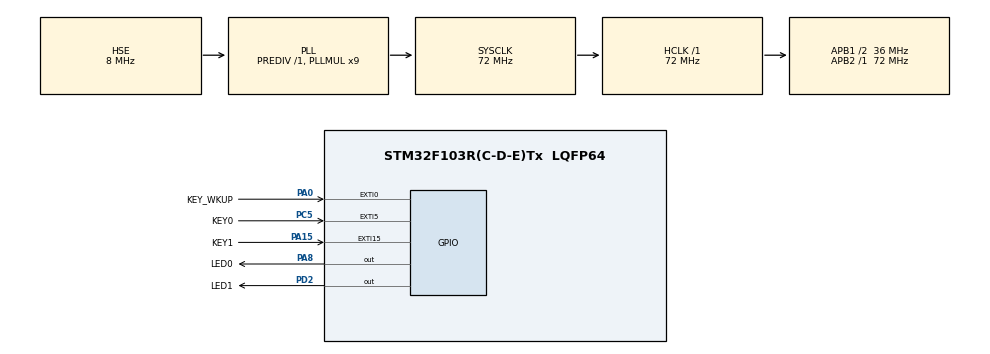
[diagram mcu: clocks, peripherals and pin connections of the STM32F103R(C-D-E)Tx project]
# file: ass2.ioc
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Mcu.Family=STM32F1
Mcu.Name=STM32F103R(C-D-E)Tx
Mcu.Package=LQFP64
NVIC.EXTI0_IRQn=true\:1\:0\:true\:false\:true\:true\:true\:true
NVIC.EXTI15_10_IRQn=true\:1\:2\:true\:false\:true\:true\:true\:true
NVIC.EXTI9_5_IRQn=true\:1\:1\:true\:false\:true\:true\:true\:true
NVIC.PriorityGroup=NVIC_PRIORITYGROUP_2
PA0-WKUP.GPIO_Label=KEY_WKUP
PA0-WKUP.GPIO_PuPd=GPIO_PULLDOWN
PA0-WKUP.Signal=GPXTI0
PA13.Mode=Serial_Wire
PA13.Signal=SYS_JTMS-SWDIO
PA14.Mode=Serial_Wire
PA14.Signal=SYS_JTCK-SWCLK
PA15.GPIO_Label=KEY1
PA15.GPIO_ModeDefaultEXTI=GPIO_MODE_IT_FALLING
PA15.GPIO_PuPd=GPIO_PULLUP
PA15.Signal=GPXTI15
PA8.GPIO_Label=LED0
PA8.Signal=GPIO_Output
PC5.GPIO_Label=KEY0
PC5.GPIO_ModeDefaultEXTI=GPIO_MODE_IT_FALLING
PC5.GPIO_PuPd=GPIO_PULLUP
PC5.Signal=GPXTI5
PD0-OSC_IN.Mode=HSE-External-Oscillator
PD0-OSC_IN.Signal=RCC_OSC_IN
PD1-OSC_OUT.Mode=HSE-External-Oscillator
PD1-OSC_OUT.Signal=RCC_OSC_OUT
PD2.GPIO_Label=LED1
PD2.Signal=GPIO_Output
ProjectManager.HeapSize=0x200
ProjectManager.StackSize=0x400
ProjectManager.TargetToolchain=STM32CubeIDE
RCC.AHBFreq_Value=72000000
RCC.APB1CLKDivider=RCC_HCLK_DIV2
RCC.APB1Freq_Value=36000000
RCC.APB1TimFreq_Value=72000000
RCC.APB2Freq_Value=72000000
RCC.APB2TimFreq_Value=72000000
RCC.HCLKFreq_Value=72000000
RCC.PLLMUL=RCC_PLL_MUL9
RCC.PLLSourceVirtual=RCC_PLLSOURCE_HSE
RCC.SYSCLKFreq_VALUE=72000000
RCC.SYSCLKSource=RCC_SYSCLKSOURCE_PLLCLK
RCC.USBFreq_Value=72000000
board=custom

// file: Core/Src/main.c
/* USER CODE BEGIN Header */
/**
  ******************************************************************************
  * @file           : main.c
  * @brief          : Main program body
  ******************************************************************************
  * @attention
  *
  * Copyright (c) 2024 STMicroelectronics.
  * All rights reserved.
  *
  * This software is licensed under terms that can be found in the LICENSE file
  * in the root directory of this software component.
  * If no LICENSE file comes with this software, it is provided AS-IS.
  *
  ******************************************************************************
  */
/* USER CODE END Header */
#include "main.h"
#include "gpio.h"

/* USER CODE BEGIN Includes */
#include <stdio.h>
#include <stdlib.h>
#include <string.h>
#include "lcd.h" // 240*320
#include "myimage.h"
/* USER CODE END Includes */

/* USER CODE BEGIN PD */

#define TITLE_REFRESH 1
#define INPUT_REFRESH 2
#define OUTPUT_REFRESH 4
#define ADDI_REFRESH 8
#define WARN_REFRESH 16
#define INFO_REFRESH 32
// above defs specify which area will be refreshed

/**
 * LCD layout:
 *   0-10  empty
 *  10-34    TITLEx24
 *  34-39  empty
 *  39-40  LINE
 *  40-45  empty
 *  45-57    INPUT_msgx12
 *  57-62  empty
 *  62-86    INPUT_datax24
 *  86-91  empty
 *  91-92  LINE
 *  92-97  empty
 * 97-109   OUTPUT_msgx12
 * 109-114 empty
 * 114-138   OUTOUT_datax24
 * 138-143 empty
 * 143-159   OUTPUT_msgx16
 * 159-164 empty
 * 164-165 LINE
 * 165-170 empty
 * 170-186   ADDI_msgx16
 * 186-191 empty
 * 191-215   ADDI_errx24
 * 215-220 empty
 * 220-244   ADDI_corx24
 * 244-249 empty
 * 249-250 LINE
 * 250-255 empty
 *
 * 255-264 reserved
 *
 * 264-276   INFO1x12
 * 276-281 empty
 * 281-293   INFO2x12
 * 293-298 empty
 * 298-310   WARNINGx12
 */

// y coords
#define TITLE_y 10
#define INPUT_msg_y 45
#define INPUT_data_y 62
#define OUTPUT_msg_y 97
#define OUTPUT_data_y 114
#define OUTPUT_msg2_y 143
#define ADDI_msg_y 170
#define ADDI_err_y 191
#define ADDI_cor_y 220
#define INFO1_y 264
#define INFO2_y 281
#define WARN_y 298

#define LINE1_y 39
#define LINE2_y 91
#define LINE3_y 164
#define LINE4_y 249

// char sizes
#define TITLE_s 24
#define INPUT_msg_s 12
#define INPUT_data_s 24
#define OUTPUT_msg_s 12
#define OUTPUT_data_s 24
#define OUTPUT_msg2_s 16
#define ADDI_msg_s 16
#define ADDI_err_s 24
#define ADDI_cor_s 24
#define INFO1_s 12
#define INFO2_s 12
#define WARN_s 12

/* USER CODE END PD */

/* USER CODE BEGIN PM */

#define get_databit(data, bit) ((((data)[(bit)>>5])>>((bit)&31)) & 1)
#define set_databit(data, bit, u) do{(data)[(bit)>>5] = (((data)[(bit)>>5] & (~(1<<((bit)&31)))) | (((u)&1)<<((bit)&31)));}while(0)
// bit operation in an uint32_t array

/* USER CODE END PM */

/* USER CODE BEGIN PV */
enum Prog_Mode mode;
enum Decode_Result dec_res;
size_t data_length = 4; // original data length
size_t true_length = 8; // encoded hamming length
uint32_t *data = NULL;  // user input
size_t data_ptr;        // user input array potision
char int2hex[20]="0123456789ABCDEF";
int T = 0; // led flash times
/* USER CODE END PV */

void SystemClock_Config(void);
/* USER CODE BEGIN PFP */
// find minimum bits need for encode `l` length data
size_t find_minimum_length(size_t l);
// get the number length in decimal
size_t num_len(size_t num);
// convert uint32_t *data to char* string with length `len`, need to be freed
char *my_data2string(uint32_t *data, size_t len);
// convert uint32_t to char* as binary string, need to be freed
char *my_2binary(size_t num);
// show data string at a specific position, if data is too long, divide into two lines.
// `s` must be 24;
void show_data_string(size_t y, size_t s, char *p);
// use hamming encode data, returns a pointer to hamming code, nned to be freed
uint32_t* encode_data(const uint32_t *src);
// decode data, returns the data(not corrected) without hamming parity length `resl`, put how many errors in `dr`, put error position in `pos`, need to be freed
uint32_t* decode_data(const uint32_t *src, enum Decode_Result *dr, size_t *pos, size_t *resl, size_t *Uu);
// show a warning message at a specific position
void show_warning_msg(char *s);

void flash_led(enum Prog_Mode m);
// init main UI for hamming code
void init_display();
// refresh and show message at given `refresh_area`
void do_display(uint8_t refresh_area);

void show_cover();
/* USER CODE END PFP */

int main(void)
{

  /* MCU Configuration--------------------------------------------------------*/

  /* Reset of all peripherals, Initializes the Flash interface and the Systick. */
  HAL_Init();

  /* Configure the system clock */
  SystemClock_Config();

  /* Initialize all configured peripherals */
  MX_GPIO_Init();
  /* USER CODE BEGIN 2 */
  LCD_Init();
  BACK_COLOR = WHITE;
  POINT_COLOR = BLACK;
  LCD_Clear(BACK_COLOR);
  show_cover();
  HAL_GPIO_WritePin(LED0_GPIO_Port, LED0_Pin, GPIO_PIN_SET);
  HAL_GPIO_WritePin(LED1_GPIO_Port, LED1_Pin, GPIO_PIN_SET);
  data = (uint32_t*)malloc(sizeof(uint32_t) * 1);
  data[0]=0;
  /* USER CODE END 2 */

  /* Infinite loop */
  while (1)
  {

    /* USER CODE BEGIN 3 */
    HAL_GPIO_WritePin(LED0_GPIO_Port, LED0_Pin, HAL_GPIO_ReadPin(KEY0_GPIO_Port, KEY0_Pin));
    HAL_GPIO_WritePin(LED1_GPIO_Port, LED1_Pin, HAL_GPIO_ReadPin(KEY1_GPIO_Port, KEY1_Pin));

    while(T > 0){
      HAL_GPIO_WritePin(LED0_GPIO_Port, LED0_Pin, GPIO_PIN_RESET);
      HAL_GPIO_WritePin(LED1_GPIO_Port, LED1_Pin, GPIO_PIN_RESET);
      HAL_Delay(100);
      HAL_GPIO_WritePin(LED0_GPIO_Port, LED0_Pin, GPIO_PIN_SET);
      HAL_GPIO_WritePin(LED1_GPIO_Port, LED1_Pin, GPIO_PIN_SET);
      if(--T) HAL_Delay(100);
    }
  }
  /* USER CODE END 3 */
}

void SystemClock_Config(void)
{
  RCC_OscInitTypeDef RCC_OscInitStruct = {0};
  RCC_ClkInitTypeDef RCC_ClkInitStruct = {0};

  /** Initializes the RCC Oscillators according to the specified parameters
  * in the RCC_OscInitTypeDef structure.
  */
  RCC_OscInitStruct.OscillatorType = RCC_OSCILLATORTYPE_HSE;
  RCC_OscInitStruct.HSEState = RCC_HSE_ON;
  RCC_OscInitStruct.HSEPredivValue = RCC_HSE_PREDIV_DIV1;
  RCC_OscInitStruct.HSIState = RCC_HSI_ON;
  RCC_OscInitStruct.PLL.PLLState = RCC_PLL_ON;
  RCC_OscInitStruct.PLL.PLLSource = RCC_PLLSOURCE_HSE;
  RCC_OscInitStruct.PLL.PLLMUL = RCC_PLL_MUL9;
  if (HAL_RCC_OscConfig(&RCC_OscInitStruct) != HAL_OK)
  {
    Error_Handler();
  }

  /** Initializes the CPU, AHB and APB buses clocks
  */
  RCC_ClkInitStruct.ClockType = RCC_CLOCKTYPE_HCLK|RCC_CLOCKTYPE_SYSCLK
                              |RCC_CLOCKTYPE_PCLK1|RCC_CLOCKTYPE_PCLK2;
  RCC_ClkInitStruct.SYSCLKSource = RCC_SYSCLKSOURCE_PLLCLK;
  RCC_ClkInitStruct.AHBCLKDivider = RCC_SYSCLK_DIV1;
  RCC_ClkInitStruct.APB1CLKDivider = RCC_HCLK_DIV2;
  RCC_ClkInitStruct.APB2CLKDivider = RCC_HCLK_DIV1;

  if (HAL_RCC_ClockConfig(&RCC_ClkInitStruct, FLASH_LATENCY_2) != HAL_OK)
  {
    Error_Handler();
  }
}

/* USER CODE BEGIN 4 */

void add_input(int num){ // callback for KEY_num
  if(mode == Cover_Mode){ // do nothing at Cover mode
    return;
  }
  do_display(WARN_REFRESH); // remove previous warnings

  if(mode == Set_Mode){ // set mode only changes length
    if(num == 0 && data_length == 1){
      show_warning_msg("WARNING: length should be positive.");
      return;
    }
    if(num == 1 && data_length >= 277){
      show_warning_msg("WARNING: length should be less than 277.");
      return;
    }
    data_length += (num<<1) - 1;
    true_length = data_length + 1 + find_minimum_length(data_length);
    do_display(INFO_REFRESH);
    return;
  }

  // check for conditions
  if(!data){
    show_warning_msg("WARNING: inner error, data=NULL");
    return;
  }
  if(mode == Encode_Mode && data_ptr >= data_length){
    show_warning_msg("WARNING: exceed length. Ignore input.");
    return;
  }
  if(mode == Decode_Mode && data_ptr >= true_length){
    show_warning_msg("WARNING: exceed length. Ignore input.");
    return;
  }
  if(num != 0 && num != 1){
    show_warning_msg("WARNING: inner error, input not 0 or 1.");
    return;
  }

  set_databit(data, data_ptr, num);
  ++data_ptr;
  do_display(INPUT_REFRESH);

  // length reaches maximum, show result
  if(mode == Decode_Mode && data_ptr == true_length){
    do_display(OUTPUT_REFRESH | ADDI_REFRESH);
    data_ptr = 0;
    size_t datal = (true_length>>5) + ((true_length&31) ? 1 : 0);
    memset(data, 0, sizeof(uint32_t) * datal);
  }
  if(mode == Encode_Mode && data_ptr == data_length){
    do_display(OUTPUT_REFRESH | ADDI_REFRESH);
    data_ptr = 0;
    size_t datal = (true_length>>5) + ((true_length&31) ? 1 : 0);
    memset(data, 0, sizeof(uint32_t) * datal);
  }
}

// skip all position like 2^k, reserve for hamming parity
size_t find_next_hamming_data_pos(size_t j){
  ++j;
  while((j & (j-1)) == 0) ++j;
  return j;
}

size_t find_minimum_length(size_t l){
  size_t i = 1;
  for(;(1ll<<i)-i < l+1; ++i); // minimum `i` for 2^i-i >= len+1
  return i;
}

size_t num_len(size_t num){
  size_t i=0;
  while(num){
    num /= 10;
    ++i;
  }
  return i;
}

char *my_data2string(uint32_t *data, size_t len){
  if(true_length <= 72){ // display as binary
    char *ss = (char*)malloc(sizeof(char)*(len+1));
    for(size_t i=0;i<len;++i){
      ss[i] = get_databit(data, i) + '0';
    }
    ss[len] = 0;
    return ss;
  } else { // display as hex
    char *ss = (char*)malloc(sizeof(char)*(((len+3)>>2)+1));
    size_t lss = 0;
    for(size_t i = 0; i < len; i += 4){
      ss[lss] = int2hex[(data[i>>5]>>(i&31)) & 15];
      ++lss;
    }
    ss[lss]=0;
    return ss;
  }
}

char *my_2binary(size_t num){
  size_t ll = num, l = 0;
  while(ll){
    ll>>=1;
    ++l;
  }
  char *s = (char*)malloc(sizeof(char)*(l+1));
  memset(s, 0, sizeof(char)*(l+1));
  l = 0;
  while(num){
    s[l] = '0' + (num & 1);
    num >>= 1;
    ++l;
  }
  for(size_t i = 0; i < (l>>1); ++i){
    char j = s[i];
    s[i] = s[l-i-1];
    s[l-i-1] = j;
  }
  s[l] = 0;
  return s;
}

uint32_t* encode_data(const uint32_t *src){
  __disable_irq();
  size_t arrl = (true_length>>5) + ((true_length & 31) ? 1 : 0);
  uint32_t *dst = (uint32_t*)malloc(sizeof(uint32_t)*arrl);
  memset(dst, 0, sizeof(uint32_t)*arrl);

  // P: hamming parity, U: a single bit parity for 2bit detect
  size_t P = 0, j = 2, tt, U = 0;
  for(size_t i = 0; i < data_length; ++i){
    j = find_next_hamming_data_pos(j);
    if(tt = get_databit(src, i)){
      P ^= j; // see README for reason.
    }
    U ^= tt;
    set_databit(dst, j, tt); // put original data into hamming code position
  }
  for(size_t i = 1; i < true_length; i<<=1){
    set_databit(dst, i, P&1); // put hamming parity into position
    U ^= P&1;
    P>>=1;
  }
  set_databit(dst, 0, U); // put the single bit parity
  __enable_irq();
  return dst;
}

uint32_t* decode_data(const uint32_t *src, enum Decode_Result *dr, size_t *pos, size_t *resl, size_t *Uu){
  __disable_irq();
  size_t arrl = (true_length>>5) + ((true_length & 31) ? 1 : 0);
  uint32_t *res = (uint32_t*)malloc(sizeof(uint32_t)*arrl);
  memset(res, 0, sizeof(uint32_t)*arrl);
  size_t res_ptr=0;

  size_t P = 0, U = 0, tt;
  for(size_t i = 0; i < true_length; ++i){
    if(tt = get_databit(src, i)){
      P ^= i; // see README for reason.
    }
    U ^= tt;
    if((i^(i-1))!=(i<<1)-1){ // not hamming parity, put into decoded data
      set_databit(res, res_ptr, tt);
      ++res_ptr;
    }
  }
  *pos = P;
  *Uu = U;
  if(P && U && P < true_length){ // C not 0, and checked for odd errors, 1bit
    *dr = OneBit;
  } else if(P || U || P >= true_length){ // else if not correct, 2bit
    *dr = TwoBit;
  } else {
    *dr = CORRECT;
  }
  __enable_irq();
  *resl = res_ptr;
  return res;
}

void flash_led(enum Prog_Mode m){
  switch (m)
  {
  case Encode_Mode:
    T = 1;
    break;
  case Decode_Mode:
    T = 2;
    break;
  case Set_Mode:
    T = 3;
    break;

  default:
    break;
  }
}

void switch_mode(){
  __disable_irq();
  size_t datal;
  switch (mode) // after switched, input data should be cleared
  {
  case Cover_Mode:
    mode = Encode_Mode;
    init_display();
    break;
  case Encode_Mode:
    mode = Decode_Mode;
    datal = (true_length>>5) + ((true_length&31) ? 1 : 0);
    memset(data, 0, sizeof(uint32_t) * datal);
    data_ptr = 0;
    break;
  case Decode_Mode:
    mode = Set_Mode;
    datal = (true_length>>5) + ((true_length&31) ? 1 : 0);
    memset(data, 0, sizeof(uint32_t) * datal);
    data_ptr = 0;
    break;
  case Set_Mode:
    mode = Encode_Mode;
    true_length = find_minimum_length(data_length) + data_length + 1;
    free(data);
    datal = (true_length>>5) + ((true_length&31) ? 1 : 0);
    data = (uint32_t*)malloc(sizeof(uint32_t) * datal); // length changed, realloc input data buffer
    memset(data, 0, sizeof(uint32_t) * datal);
    data_ptr = 0;
    break;

  default:
    break;
  }
  // refresh all display
  do_display(TITLE_REFRESH | INPUT_REFRESH | OUTPUT_REFRESH | ADDI_REFRESH | WARN_REFRESH | INFO_REFRESH);
  __enable_irq();
  flash_led(mode);
}

void show_warning_msg(char *s){
  LCD_Fill(0, WARN_y, 240, WARN_y+WARN_s, BACK_COLOR);
  LCD_ShowString_trans(10, WARN_y, 220, WARN_s, WARN_s, s);
}

void show_data_string(size_t y, size_t s, char *p){
  size_t l = strlen(p);
  if(l<=18){
    LCD_ShowString_trans(10, y, 220, s, s, p);
  } else if(l<=36){
    LCD_ShowString_trans(10, y, 220, s>>1, s>>1, p);
  } else {
    char pt = p[36];
    p[36] = 0;
    LCD_ShowString_trans(10, y-1, 220, s>>1, s>>1, p);
    p[36] = pt;
    LCD_ShowString_trans(10, y+(s>>1)+1, 220, s>>1, s>>1, p+36);
  }
}

void init_display(){
  LCD_Clear(BACK_COLOR);
  LCD_DrawLine(10, LINE1_y, 230, LINE1_y);
  LCD_DrawLine(10, LINE2_y, 230, LINE2_y);
  LCD_DrawLine(10, LINE3_y, 230, LINE3_y);
  LCD_DrawLine(10, LINE4_y, 230, LINE4_y);

  LCD_ShowString_trans(10, INPUT_msg_y, 220, INPUT_msg_y, INPUT_msg_s, "Original data:");
  LCD_ShowString_trans(10, OUTPUT_msg_y, 220, OUTPUT_msg_y, OUTPUT_msg_s, "Hamming code:");

  // above are the things that will not change during execution

  LCD_Fill(0, OUTPUT_msg2_y, 240, OUTPUT_msg2_y+OUTPUT_msg2_s, BACK_COLOR);
  size_t numl = num_len(true_length-data_length);
  LCD_ShowString_trans(10, OUTPUT_msg2_y+4, 220, 12, 12, "with ");
  LCD_ShowNum(10+ 5*6, OUTPUT_msg2_y, true_length-data_length, numl, OUTPUT_msg2_s);
  LCD_ShowString_trans(10 + 5*6 + numl*8, OUTPUT_msg2_y+4, 220, 12, 12, " parity bits.");

  do_display(TITLE_REFRESH);
  do_display(INFO_REFRESH);
}

void do_display(uint8_t refresh_area){
  if(mode == Cover_Mode) return;
  if(refresh_area & TITLE_REFRESH){ // repaint title
    refresh_area ^= TITLE_REFRESH;
    LCD_Fill(0, TITLE_y, 240, TITLE_y+TITLE_s, BACK_COLOR);
    switch (mode)
    {
    case Encode_Mode:
      LCD_ShowString_trans(10, TITLE_y, 220, TITLE_s, TITLE_s, "Encode Mode");
      break;
    case Decode_Mode:
      LCD_ShowString_trans(10, TITLE_y, 220, TITLE_s, TITLE_s, "Decode Mode");
      break;
    case Set_Mode:
      LCD_ShowString_trans(10, TITLE_y, 220, TITLE_s, TITLE_s, "Length Set Mode");
      break;

    default:
      break;
    }
  }

  if(refresh_area & INFO_REFRESH){ // repaint info (data len: xxx)
    refresh_area ^= INFO_REFRESH;
    LCD_Fill(0, INFO1_y, 240, INFO1_y+INFO1_s, BACK_COLOR);
    LCD_Fill(0, INFO2_y, 240, INFO2_y+INFO2_s, BACK_COLOR);
    /**
     * data len: xxx
     * hamm len: xxx
     */
    LCD_ShowString_trans(10, INFO1_y, 240, INFO1_s, INFO1_s, "data len: ");
    LCD_ShowNum(10+10*6, INFO1_y, data_length, num_len(data_length), INFO1_s);
    LCD_ShowString_trans(10, INFO2_y, 240, INFO2_s, INFO2_s, "Hamm len: ");
    LCD_ShowNum(10+10*6, INFO2_y, true_length, num_len(true_length), INFO2_s);
  }
  switch (mode)
  {
  case Encode_Mode:
    if(refresh_area & INPUT_REFRESH){ // repaint input area
      refresh_area ^= INPUT_REFRESH;
      LCD_Fill(0, INPUT_data_y, 240, INPUT_data_y+INPUT_data_s, BACK_COLOR);
      char *ss = my_data2string(data, data_ptr);
      show_data_string(INPUT_data_y, INPUT_data_s, ss);
      free(ss);
    }
    if(refresh_area & OUTPUT_REFRESH){
      refresh_area ^= OUTPUT_REFRESH;
      LCD_Fill(0, OUTPUT_data_y, 240, OUTPUT_data_y+OUTPUT_data_s, BACK_COLOR);
      if (data_ptr == data_length){ // show the encoded result
        uint32_t *enc = encode_data(data);
        char *ss = my_data2string(enc, true_length);
        show_data_string(OUTPUT_data_y, OUTPUT_data_s, ss);
        LCD_ShowString_trans(10, ADDI_msg_y, 220, ADDI_msg_s, ADDI_msg_s, "No error");
        free(ss);
        free(enc);
      }
    }
    if(refresh_area & ADDI_REFRESH){
      refresh_area ^= ADDI_REFRESH;
      LCD_Fill(0, ADDI_msg_y, 240, ADDI_msg_y+ADDI_msg_s, BACK_COLOR);
      LCD_Fill(0, ADDI_err_y-2, 240, ADDI_err_y+2+ADDI_err_s, BACK_COLOR);
      LCD_Fill(0, ADDI_cor_y-2, 240, ADDI_cor_y+2+ADDI_cor_s, BACK_COLOR);
      if (data_ptr == data_length){
        LCD_ShowString_trans(10, ADDI_msg_y, 220, ADDI_msg_s, ADDI_msg_s, "No error");
      }
    }
    break;
  case Decode_Mode:
    if(refresh_area & INPUT_REFRESH){
      refresh_area ^= INPUT_REFRESH;
      LCD_Fill(0, OUTPUT_data_y, 240, OUTPUT_data_y+OUTPUT_data_s, BACK_COLOR);

      char *ss = my_data2string(data, data_ptr);
      show_data_string(OUTPUT_data_y, OUTPUT_data_s, ss);
    }
    if(refresh_area & OUTPUT_REFRESH){
      refresh_area ^= OUTPUT_REFRESH;

      LCD_Fill(0, INPUT_data_y, 240, INPUT_data_y+INPUT_data_s, BACK_COLOR);
      LCD_Fill(0, ADDI_msg_y, 240, ADDI_msg_y+ADDI_msg_s, BACK_COLOR);
      LCD_Fill(0, ADDI_err_y-2, 240, ADDI_err_y+2+ADDI_err_s, BACK_COLOR);
      LCD_Fill(0, ADDI_cor_y-2, 240, ADDI_cor_y+2+ADDI_cor_s, BACK_COLOR);

      if (data_ptr == true_length){ // show the decoded result
        enum Decode_Result dr;
        size_t pos, decl, U;
        uint32_t *dec = decode_data(data, &dr, &pos, &decl, &U);
        char *ss = my_data2string(dec, decl);

        show_warning_msg(U ? "Intermediate: U=1" : "Intermediate: U=0"); // All intermediate variables not shown only remains U...
        LCD_ShowString_trans(10 + 9 * WARN_s, WARN_y, 220, WARN_s, WARN_s, "P=");
        char *sss = my_2binary(pos);
        LCD_ShowString_trans(10 + 10 * WARN_s, WARN_y, 220, WARN_s, WARN_s, sss);
        free(sss);
        if(dr == TwoBit){
          LCD_ShowString_trans(10, ADDI_msg_y, 220, ADDI_msg_s, ADDI_msg_s, "2 or more errors");
        } else if(dr == OneBit){
          LCD_ShowString_trans(10, ADDI_msg_y, 220, ADDI_msg_s, ADDI_msg_s, "1");
          LCD_ShowString_trans(10+8, ADDI_msg_y+4, 220, 12, 12, " error occurs, P=");
          LCD_ShowNum(10+8+17*6, ADDI_msg_y, pos, num_len(pos), ADDI_msg_s);
          LCD_Fill(8, ADDI_err_y-2, 224, ADDI_err_y+ADDI_err_s+2, RED);
          LCD_Fill(8, ADDI_cor_y-2, 224, ADDI_cor_y+ADDI_cor_s+2, GREEN);

          BACK_COLOR = RED;
          show_data_string(ADDI_err_y, ADDI_err_s, ss); // show error data
          free(ss);
          free(dec);

          uint8_t x = get_databit(data, pos);
          set_databit(data, pos, x^1); // get correct hamming code
          dec = decode_data(data, &dr, &pos, &decl, &U);
          ss = my_data2string(dec, decl);
          BACK_COLOR = GREEN;
          show_data_string(ADDI_cor_y, ADDI_cor_s, ss); // show correct data

          BACK_COLOR = WHITE;
          show_data_string(INPUT_data_y, INPUT_data_s, ss);

          if(dr != CORRECT){
            show_warning_msg("cannot correct 1 bit error");
          }
        } else {
          show_data_string(INPUT_data_y, INPUT_data_s, ss);
          LCD_Fill(0, ADDI_msg_y, 240, ADDI_msg_y+ADDI_msg_s, BACK_COLOR);
          LCD_ShowString_trans(10, ADDI_msg_y, 220, ADDI_msg_s, ADDI_msg_s, "No error");
        }
        free(ss);
        free(dec);
      }
    }
    break;
  case Set_Mode: // just clear all the things, only refresh length
    LCD_Fill(0, OUTPUT_msg2_y, 240, OUTPUT_msg2_y+OUTPUT_msg2_s, BACK_COLOR);
    size_t numl = num_len(true_length-data_length);
    LCD_ShowString_trans(10, OUTPUT_msg2_y+4, 220, 12, 12, "with ");
    LCD_ShowNum(10+ 5*6, OUTPUT_msg2_y, true_length-data_length, numl, OUTPUT_msg2_s);
    LCD_ShowString_trans(10 + 5*6 + numl*8, OUTPUT_msg2_y+4, 220, 12, 12, " parity bits.");

    if(refresh_area & ADDI_REFRESH){
      refresh_area ^= ADDI_REFRESH;
      LCD_Fill(0, ADDI_msg_y, 240, ADDI_msg_y+ADDI_msg_s, BACK_COLOR);
      LCD_Fill(0, ADDI_err_y-2, 240, ADDI_err_y+2+ADDI_err_s, BACK_COLOR);
      LCD_Fill(0, ADDI_cor_y-2, 240, ADDI_cor_y+2+ADDI_cor_s, BACK_COLOR);
    }
    if(refresh_area & INPUT_REFRESH){
      refresh_area ^= INPUT_REFRESH;
      LCD_Fill(0, INPUT_data_y, 240, INPUT_data_y+INPUT_data_s, BACK_COLOR);
    }
    if(refresh_area & OUTPUT_REFRESH){
      refresh_area ^= OUTPUT_REFRESH;
      LCD_Fill(0, OUTPUT_data_y, 240, OUTPUT_data_y+OUTPUT_data_s, BACK_COLOR);
    }
    break;

  default:
    break;
  }
  if(refresh_area & WARN_REFRESH){
    refresh_area ^= WARN_REFRESH;
    LCD_Fill(0, WARN_y, 240, WARN_y+WARN_s, BACK_COLOR);
  }
}

void show_cover(){
  LCD_Color_Fill(0, 0, 239, 319, gImage_dmx_100);
  LCD_ShowString_trans(18, 50, 220, 24, 24, "Hamming Code Tool");
  LCD_ShowString_trans(135, 84, 220, 12, 12, "by XJC 12112012");

  LCD_DrawLine(10, 105, 220, 105);

  LCD_ShowString_trans(10, 115, 220, 12, 12, "This program is capable of");
  LCD_ShowString_trans(10, 115+17, 220, 12, 12, "  performing 2bit detection using");
  LCD_ShowString_trans(10, 115+17*2, 220, 12, 12, "  an extra parity bit. Also can");
  LCD_ShowString_trans(10, 115+17*3, 220, 12, 12, "  adjust input length in Set Mode.");
  LCD_ShowString_trans(10, 115+17*4+20, 220, 12, 12, "Use WK_UP to enter and switch mode");
}
/* USER CODE END 4 */

void Error_Handler(void)
{
  __disable_irq();
  while (1)
  {
  }
}
